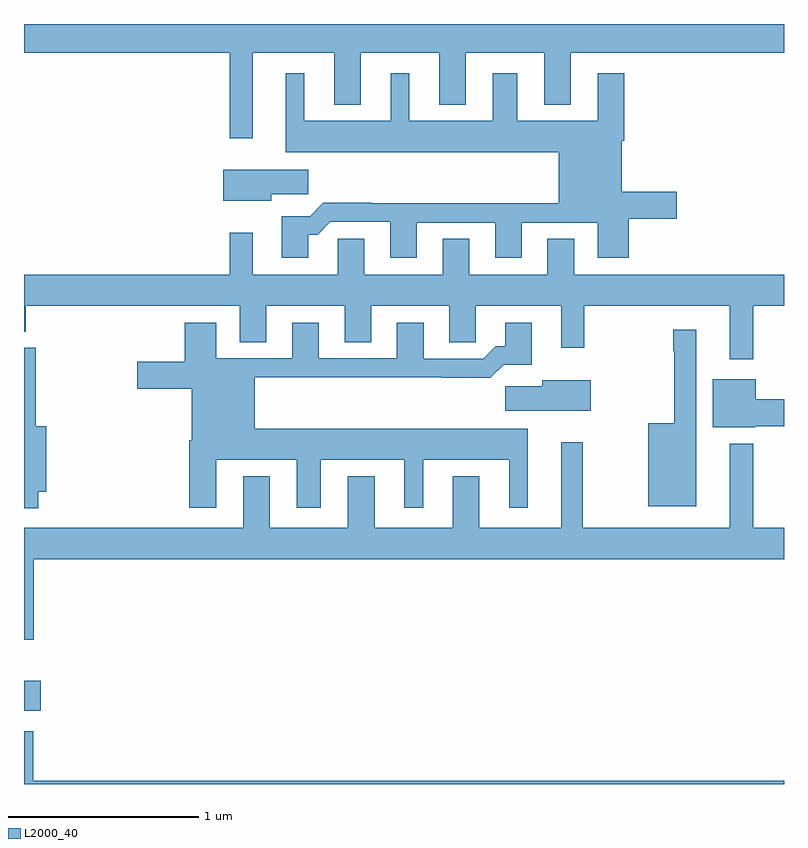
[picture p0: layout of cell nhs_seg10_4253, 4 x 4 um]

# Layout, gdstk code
import gdstk
lib = gdstk.Library(unit=1e-6, precision=1e-09)
def R(c, l, rs):  # rectangles x0, y0, x1, y1
    for r in rs: c.add(gdstk.rectangle(r[:2], r[2:], *l))
def P(c, l, *ps):  # polygons
    for p in ps: c.add(gdstk.Polygon(p, *l))
L2000_40 = (2000, 40)

nhs_seg10_4253 = lib.new_cell('nhs_seg10_4253')
R(nhs_seg10_4253, L2000_40, [(349,1264.886,349.087,1265.044)])
P(nhs_seg10_4253, L2000_40, [(350.203,1268.348),(350.633,1268.348),(350.633,1268.075),(350.773,1268.075),(350.773,1268.348),(351.185,1268.348),(351.185,1268.075),(351.325,1268.075),(351.325,1268.348),(351.737,1268.348),(351.737,1268.075),(351.877,1268.075),(351.877,1268.348),(353,1268.348),(353,1268.5),(349,1268.5),(349,1268.348),(350.082,1268.348),(350.082,1267.899),(350.203,1267.899)],
  [(350.497,1267.391),(350.546,1267.391),(350.613,1267.458),(350.927,1267.458),(350.927,1267.269),(351.067,1267.269),(351.067,1267.455),(351.479,1267.455),(351.479,1267.269),(351.619,1267.269),(351.619,1267.455),(352.019,1267.455),(352.019,1267.269),(352.184,1267.269),(352.184,1267.474),(352.435,1267.474),(352.435,1267.616),(352.147,1267.616),(352.147,1267.886),(352.16,1267.886),(352.16,1268.242),(352.019,1268.242),(352.019,1267.99),(351.595,1267.99),(351.595,1268.242),(351.467,1268.242),(351.467,1267.99),(351.028,1267.99),(351.028,1268.242),(350.93,1268.242),(350.93,1267.99),(350.476,1267.99),(350.476,1268.242),(350.378,1268.242),(350.378,1267.826),(351.815,1267.826),(351.815,1267.556),(350.831,1267.556),(350.831,1267.559),(350.576,1267.559),(350.506,1267.489),(350.357,1267.489),(350.357,1267.269),(350.497,1267.269)],
  [(350.302,1267.603),(350.497,1267.603),(350.497,1267.732),(350.048,1267.732),(350.048,1267.571),(350.302,1267.571)],
  [(352.837,1267.016),(353,1267.016),(353,1267.18),(351.895,1267.18),(351.895,1267.37),(351.755,1267.37),(351.755,1267.18),(351.343,1267.18),(351.343,1267.37),(351.203,1267.37),(351.203,1267.18),(350.791,1267.18),(350.791,1267.37),(350.652,1267.37),(350.652,1267.18),(350.203,1267.18),(350.203,1267.402),(350.082,1267.402),(350.082,1267.18),(349,1267.18),(349,1266.88),(349.01,1266.88),(349.01,1267.016),(350.135,1267.016),(350.135,1266.826),(350.275,1266.826),(350.275,1267.016),(350.687,1267.016),(350.687,1266.826),(350.827,1266.826),(350.827,1267.016),(351.239,1267.016),(351.239,1266.826),(351.378,1266.826),(351.378,1267.016),(351.827,1267.016),(351.827,1266.795),(351.949,1266.795),(351.949,1267.016),(352.715,1267.016),(352.715,1266.735),(352.837,1266.735)],
  [(350.011,1266.206),(350.435,1266.206),(350.435,1265.955),(350.563,1265.955),(350.563,1266.206),(351.002,1266.206),(351.002,1265.955),(351.1,1265.955),(351.1,1266.206),(351.554,1266.206),(351.554,1265.955),(351.652,1265.955),(351.652,1266.37),(350.215,1266.37),(350.215,1266.64),(351.199,1266.64),(351.199,1266.638),(351.455,1266.638),(351.524,1266.707),(351.673,1266.707),(351.673,1266.928),(351.533,1266.928),(351.533,1266.805),(351.484,1266.805),(351.417,1266.738),(351.103,1266.738),(351.103,1266.928),(350.963,1266.928),(350.963,1266.741),(350.551,1266.741),(350.551,1266.928),(350.411,1266.928),(350.411,1266.741),(350.011,1266.741),(350.011,1266.928),(349.847,1266.928),(349.847,1266.723),(349.596,1266.723),(349.596,1266.581),(349.883,1266.581),(349.883,1266.31),(349.871,1266.31),(349.871,1265.955),(350.011,1265.955)],
  [(352.537,1266.892),(352.416,1266.892),(352.416,1266.779),(352.423,1266.779),(352.423,1266.4),(352.286,1266.4),(352.286,1265.963),(352.537,1265.963)],
  [(349.074,1266.038),(349.117,1266.038),(349.117,1266.382),(349.061,1266.382),(349.061,1266.795),(349,1266.795),(349,1265.952),(349.074,1265.952)],
  [(352.848,1266.383),(353,1266.383),(353,1266.525),(352.852,1266.525),(352.852,1266.631),(352.625,1266.631),(352.625,1266.377),(352.848,1266.377)],
  [(351.982,1266.625),(351.728,1266.625),(351.728,1266.593),(351.534,1266.593),(351.534,1266.464),(351.982,1266.464)],
  [(353,1265.848),(352.837,1265.848),(352.837,1266.292),(352.715,1266.292),(352.715,1265.848),(351.941,1265.848),(351.941,1266.298),(351.827,1266.298),(351.827,1265.848),(351.397,1265.848),(351.397,1266.121),(351.257,1266.121),(351.257,1265.848),(350.845,1265.848),(350.845,1266.121),(350.705,1266.121),(350.705,1265.848),(350.293,1265.848),(350.293,1266.121),(350.153,1266.121),(350.153,1265.848),(349,1265.848),(349,1265.259),(349.052,1265.259),(349.052,1265.684),(353,1265.684)],
  [(353,1264.516),(349.049,1264.516),(349.049,1264.777),(349,1264.777),(349,1264.5),(353,1264.5)])

lib.write_gds('nhs_seg10_4253.gds')
